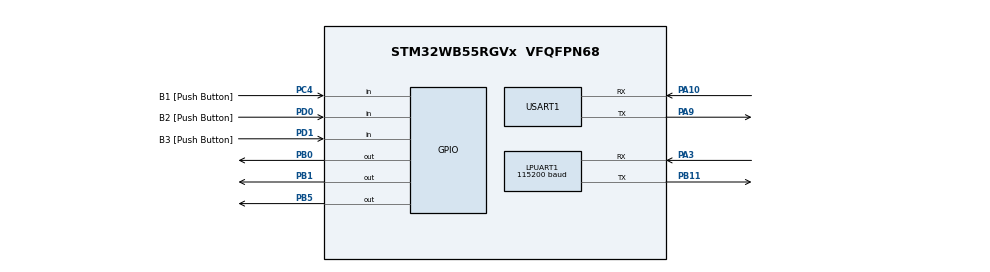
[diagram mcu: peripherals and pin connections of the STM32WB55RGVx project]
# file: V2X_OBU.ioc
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FREERTOS.Tasks01=SenderTask,24,128,StartSenderTask,Default,NULL,Dynamic,NULL,NULL;TskUART,40,128,StartTskUART,Default,NULL,Dynamic,NULL,NULL;SenderTask2,24,128,StartSenderTask2,Default,NULL,Dynamic,NULL,NULL;TskUART2,40,128,StartTskUART2,Default,NULL,Dynamic,NULL,NULL
FREERTOS.configUSE_NEWLIB_REENTRANT=1
LPUART1.BaudRate=115200
Mcu.Family=STM32WB
Mcu.Name=STM32WB55RGVx
Mcu.Package=VFQFPN68
NUCLEO-WB55RG.LD1=true
NUCLEO-WB55RG.LD2=true
NUCLEO-WB55RG.LD3=true
NVIC.LPUART1_IRQn=true\:5\:0\:false\:false\:true\:true\:true\:true\:true
NVIC.PriorityGroup=NVIC_PRIORITYGROUP_4
NVIC.TIM2_IRQn=true\:15\:0\:false\:false\:true\:false\:false\:true\:true
NVIC.TimeBase=TIM2_IRQn
NVIC.TimeBaseIP=TIM2
NVIC.USART1_IRQn=true\:5\:0\:false\:false\:true\:true\:true\:true\:true
OSC_IN.GPIO_Label=RCC_OSC_IN
OSC_IN.Signal=RCC_OSC_IN
OSC_OUT.GPIO_Label=RCC_OSC_OUT
OSC_OUT.Signal=RCC_OSC_OUT
PA10.Mode=Asynchronous
PA10.Signal=USART1_RX
PA11.GPIO_Label=USB_DM
PA11.Signal=USB_DM
PA12.GPIO_Label=USB_DP
PA12.Signal=USB_DP
PA13.GPIO_Label=JTMS
PA13.Signal=SYS_JTMS-SWDIO
PA14.GPIO_Label=JTCK
PA14.Signal=SYS_JTCK-SWCLK
PA3.Mode=Asynchronous
PA3.Signal=LPUART1_RX
PA9.Mode=Asynchronous
PA9.Signal=USART1_TX
PB0.Signal=GPIO_Output
PB1.Signal=GPIO_Output
PB11.Mode=Asynchronous
PB11.Signal=LPUART1_TX
PB3.GPIO_Label=JTDO
PB3.Signal=SYS_JTDO-SWO
PB5.Signal=GPIO_Output
PC13.GPIO_Label=SYS_WKUP2
PC13.Signal=SYS_WKUP2
PC14-OSC32_IN.GPIO_Label=RCC_OSC32_IN
PC14-OSC32_IN.Signal=RCC_OSC32_IN
PC15-OSC32_OUT.GPIO_Label=RCC_OSC32_OUT
PC15-OSC32_OUT.Signal=RCC_OSC32_OUT
PC4.GPIO_Label=B1 [Push Button]
PC4.Signal=GPIO_Input
PD0.GPIO_Label=B2 [Push Button]
PD0.Signal=GPIO_Input
PD1.GPIO_Label=B3 [Push Button]
PD1.Signal=GPIO_Input
ProjectManager.HeapSize=0x200
ProjectManager.StackSize=0x400
ProjectManager.TargetToolchain=STM32CubeIDE
RCC.ADCFreq_Value=16000000
RCC.AHB2CLKDivider=RCC_SYSCLK_DIV2
RCC.AHBFreq_Value=64000000
RCC.APB1Freq_Value=64000000
RCC.APB1TimFreq_Value=64000000
RCC.APB2Freq_Value=64000000
RCC.APB2TimFreq_Value=64000000
RCC.APB3Freq_Value=16000000
RCC.Cortex2_Div=SYSTICK_CLKSOURCE_HCLK_DIV8
RCC.CortexFreq_Value=64000000
RCC.HCLKFreq_Value=64000000
RCC.HSE_VALUE=32000000
RCC.HSI48_VALUE=48000000
RCC.HSI_VALUE=16000000
RCC.LSE_VALUE=32768
RCC.PLLN=32
RCC.SMPSCLockSelection=RCC_SMPSCLKSOURCE_HSI
RCC.SMPSCLockSelectionVirtual=RCC_SMPSCLKSOURCE_HSI
RCC.SMPSCLockSelectionVirtualVirtual=RCC_SMPSCLKSOURCE_HSI
RCC.SMPSDivider=1
RCC.SYSCLKFreq_VALUE=64000000
RCC.SYSCLKSource=RCC_SYSCLKSOURCE_PLLCLK
RCC.USBFreq_Value=16000000
RCC.VCOOutputFreq_Value=128000000
USART1.VirtualMode-Asynchronous=VM_ASYNC
VP_FREERTOS_VS_CMSIS_V2.Mode=CMSIS_V2
VP_MEMORYMAP_VS_MEMORYMAP.Mode=CurAppReg
VP_NUCLEO-WB55RG_VS_BSP_COMMON.Mode=COMMON
VP_SYS_VS_tim2.Mode=TIM2
board=NUCLEO-WB55RG

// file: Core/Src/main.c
/* USER CODE BEGIN Header */
/**
  ******************************************************************************
  * @file           : main.c
  * @brief          : Main program body - Optimized with Interrupts & 64MHz
  ******************************************************************************
  * @attention
  *
  * Copyright (c) 2025 STMicroelectronics.
  * All rights reserved.
  *
  * This software is licensed under terms that can be found in the LICENSE file
  * in the root directory of this software component.
  * If no LICENSE file comes with this software, it is provided AS-IS.
  *
  ******************************************************************************
  */
//////////////////////////////////////////////////the stm32 receives data from esp-now via lpuart1, and CAN data via usart1/////////////////////////////
/* USER CODE END Header */
#include "main.h"
#include "cmsis_os.h"
/* USER CODE BEGIN Includes */
#include <stdio.h>
#include <string.h>
#include "queue.h"
#include <stdbool.h>
/* USER CODE END Includes */
/* USER CODE BEGIN PTD */
typedef struct {
    unsigned short SOC;
    float speedKmh;
    float odometerKm;
    float displaySpeed;
    uint8_t MacAddress[6];  // Sender's MAC
} Item;  // Ensure consistent packing
volatile Item receivedData;
//struct for collecting CAN Received CAN Frames:
typedef struct {
    uint32_t can_id;
    uint8_t dlc;
    uint8_t data[8];
} CANFrame;
volatile CANFrame CANreceivedData;
/* USER CODE END PTD */
/* USER CODE BEGIN PD */
#define UART_TX_INTERVAL 500         // 0.5 seconds transmission interval
#define QUEUE_SIZE 20                // Increased queue size for interrupts
#define DEBUG_PRINT_INTERVAL 100     // Print every 100th message for performance
/* USER CODE END PD */
UART_HandleTypeDef hlpuart1;
UART_HandleTypeDef huart1;
/* Definitions for SenderTask */
osThreadId_t SenderTaskHandle;
const osThreadAttr_t SenderTask_attributes = {
  .name = "SenderTask",
  .priority = (osPriority_t) osPriorityNormal,
  .stack_size = 256 * 4  // Increased stack size
};
/* Definitions for TskUART */
osThreadId_t TskUARTHandle;
const osThreadAttr_t TskUART_attributes = {
  .name = "TskUART",
  .priority = (osPriority_t) osPriorityLow,  // Lower priority since interrupts handle reception
  .stack_size = 256 * 4
};
/* Definitions for SenderTask2 */
osThreadId_t SenderTask2Handle;
const osThreadAttr_t SenderTask2_attributes = {
  .name = "SenderTask2",
  .priority = (osPriority_t) osPriorityNormal,
  .stack_size = 256 * 4
};
/* Definitions for TskUART2 */
osThreadId_t TskUART2Handle;
const osThreadAttr_t TskUART2_attributes = {
  .name = "TskUART2",
  .priority = (osPriority_t) osPriorityLow,  // Lower priority since interrupts handle reception
  .stack_size = 256 * 4
};
/* USER CODE BEGIN PV */
static uint32_t last_tx_time = 0;
static uint32_t debug_counter = 0;
// Define the queue:
static QueueHandle_t UARTQueue;
static QueueHandle_t UARTQueue2;
// Pre-allocated buffers for better performance
static const uint8_t stm32_mac[6] = {0xAA, 0xBB, 0xCC, 0xDD, 0xEE, 0xFF};
// Global variable to store parsed CAN data
static Item parsedCANData;
// Interrupt status flags
static volatile uint32_t uart_error_count = 0;
static volatile uint32_t can_error_count = 0;
/* USER CODE END PV */
void SystemClock_Config(void);
void PeriphCommonClock_Config(void);
static void MX_GPIO_Init(void);
static void MX_USART1_UART_Init(void);
static void MX_LPUART1_UART_Init(void);
void StartSenderTask(void *argument);
void StartTskUART(void *argument);
void StartSenderTask2(void *argument);
void StartTskUART2(void *argument);
/* USER CODE BEGIN PFP */
static inline uint8_t ValidateReceivedData(const Item *data);
static inline uint8_t ValidateReceivedCANData(const CANFrame *data);
static void PrintMAC(const uint8_t *mac);
static void PrintCANData(const CANFrame *ReceivedCANFrame);
static void parseTwizyFrame(CANFrame* ReceivedCANFrame);
static void StartUARTInterrupts(void);
/* USER CODE END PFP */
/* USER CODE BEGIN 0 */
//THIS IS TO VALIDATE RECEIVED DATA from ESP-NOW
static inline uint8_t ValidateReceivedData(const Item *data) {
    // Check if at least one byte of MAC address is non-zero
    for (int i = 0; i < 6; i++) {
        if (data->MacAddress[i] != 0) {
            return 1;
        }
    }
    return 0;
}
//THIS IS TO VALIDATE RECEIVED DATA from CAN
static inline uint8_t ValidateReceivedCANData(const CANFrame *data) {
    return (data->can_id != 0 && data->dlc <= 8);
}
// Helper function to print MAC address
static void PrintMAC(const uint8_t *mac) {
    printf("%02X:%02X:%02X:%02X:%02X:%02X",
           mac[0], mac[1], mac[2], mac[3], mac[4], mac[5]);
}
// Helper function to print CAN data
static void PrintCANData(const CANFrame *ReceivedCANFrame) {
    if (debug_counter % DEBUG_PRINT_INTERVAL == 0) {
        printf("CAN ID:0x%lX DLC:%u DATA:", ReceivedCANFrame->can_id, ReceivedCANFrame->dlc);
        for (int i = 0; i < ReceivedCANFrame->dlc; i++) {
            printf("%02X ", ReceivedCANFrame->data[i]);
        }
        printf("\n");
    }
}
//Function to parse the CAN data and update parsedCANData:
static void parseTwizyFrame(CANFrame* ReceivedCANFrame) {
    switch (ReceivedCANFrame->can_id) {
        case 0x155:  // Battery SoC and Current
            if (ReceivedCANFrame->dlc >= 8) {
                uint16_t raw_soc = (ReceivedCANFrame->data[4] << 8) | ReceivedCANFrame->data[5];
                float soc = raw_soc / 400.0f;
                parsedCANData.SOC = (unsigned short)(soc * 100);  // Convert to percentage * 100
                if (debug_counter % (DEBUG_PRINT_INTERVAL * 2) == 0) {
                    printf("SoC: %.1f%%\n", soc);
                }
            }
            break;
        case 0x5D7:  // Display Speed and Odometer
            if (ReceivedCANFrame->dlc >= 6) {
                uint16_t displaySpeedRaw = (ReceivedCANFrame->data[0] << 8) | ReceivedCANFrame->data[1];
                parsedCANData.displaySpeed = displaySpeedRaw / 100.0f;
                uint32_t odometerRaw = (ReceivedCANFrame->data[2] << 24) | (ReceivedCANFrame->data[3] << 16) |
                                       (ReceivedCANFrame->data[4] << 8) | ReceivedCANFrame->data[5];
                parsedCANData.odometerKm = odometerRaw / 1600.0f;
                if (debug_counter % (DEBUG_PRINT_INTERVAL * 2) == 0) {
                    printf("Display: %.1f km/h | Odometer: %.1f km\n", parsedCANData.displaySpeed, parsedCANData.odometerKm);
                }
            }
            break;
        case 0x19F:  // Motor Speed and RPM
            if (ReceivedCANFrame->dlc >= 4) {
                uint8_t byte2 = ReceivedCANFrame->data[2];
                uint8_t byte3 = ReceivedCANFrame->data[3];
                uint16_t speedRaw = (byte2 << 4) | (byte3 & 0x0F);
                int16_t speedDeviation = speedRaw - 0x7D0;
                float speedRPM = speedDeviation * 10.0f;
                parsedCANData.speedKmh = (speedRPM / 7250.0f) * 80.0f;
                if (debug_counter % (DEBUG_PRINT_INTERVAL * 2) == 0) {
                    printf("Motor: %.1f km/h | RPM: %.0f\n", parsedCANData.speedKmh, speedRPM);
                }
            }
            break;
        case 0x436:  // System Uptime
            if (ReceivedCANFrame->dlc >= 4) {
                uint32_t minuteCounter = (ReceivedCANFrame->data[0] << 24) | (ReceivedCANFrame->data[1] << 16) |
                                         (ReceivedCANFrame->data[2] << 8) | ReceivedCANFrame->data[3];
                uint32_t hours = minuteCounter / 60;
                uint32_t days = hours / 24;
                uint32_t remainingHours = hours % 24;
                if (debug_counter % (DEBUG_PRINT_INTERVAL * 5) == 0) {
                    printf("Uptime: %u min | %u h | %u d\n", minuteCounter, remainingHours, days);
                }
            }
            break;
        case 0x423:  // Charger Status
            if (ReceivedCANFrame->dlc >= 8) {
                uint8_t chargerStatus = ReceivedCANFrame->data[0];
                uint16_t counter = (ReceivedCANFrame->data[6] << 8) | ReceivedCANFrame->data[7];
                if (debug_counter % (DEBUG_PRINT_INTERVAL * 3) == 0) {
                    printf("Charger: %s | Counter: %u\n", chargerStatus == 0x03 ? "ON" : "OFF", counter);
                }
            }
            break;
        case 0x424:  // Power and Battery Health
            if (ReceivedCANFrame->dlc >= 6) {
                int maxRegenPower = ReceivedCANFrame->data[2] * 500;
                int maxDrivePower = ReceivedCANFrame->data[3] * 500;
                int batterySOH = ReceivedCANFrame->data[5];
                if (debug_counter % (DEBUG_PRINT_INTERVAL * 3) == 0) {
                    printf("Max Drive: %d W | Regen: %d W | SOH: %d%%\n", maxDrivePower, maxRegenPower, batterySOH);
                }
            }
            break;
        case 0x425:  // Battery Voltage and Energy
            if (ReceivedCANFrame->dlc >= 6) {
                uint16_t voltageRaw = (ReceivedCANFrame->data[4] << 8) | ReceivedCANFrame->data[5];
                float batteryVoltage = (voltageRaw >> 1) / 10.0f;
                float availableEnergy = ReceivedCANFrame->data[1] / 10.0f;
                if (debug_counter % (DEBUG_PRINT_INTERVAL * 3) == 0) {
                    printf("Battery: %.1f V | Energy: %.1f kWh\n", batteryVoltage, availableEnergy);
                }
            }
            break;
        case 0x597:  // 12V System
            if (ReceivedCANFrame->dlc >= 8) {
                float dcCurrent = ReceivedCANFrame->data[2] / 5.0f;
                int chargerTemp = ReceivedCANFrame->data[7] - 40;
                uint8_t protocol = ReceivedCANFrame->data[3];
                const char* proto_str = "UNK";
                switch (protocol) {
                    case 0x41: proto_str = "ON"; break;
                    case 0xD1: proto_str = "OFF"; break;
                    case 0xB1: proto_str = "CHG"; break;
                    case 0x91: proto_str = "STB"; break;
                }
                if (debug_counter % (DEBUG_PRINT_INTERVAL * 4) == 0) {
                    printf("12V: %.1f A | Temp: %d°C | Protocol: %s\n", dcCurrent, chargerTemp, proto_str);
                }
            }
            break;
        default:
            // Unknown frame - could log if needed
            break;
    }
}

// Start interrupt-based UART reception
static void StartUARTInterrupts(void) {
    // Enable NVIC interrupts for UART
    HAL_NVIC_SetPriority(LPUART1_IRQn, 5, 0);
    HAL_NVIC_EnableIRQ(LPUART1_IRQn);

    HAL_NVIC_SetPriority(USART1_IRQn, 5, 0);
    HAL_NVIC_EnableIRQ(USART1_IRQn);

    // Start interrupt-based reception
    HAL_UART_Receive_IT(&hlpuart1, (uint8_t*)&receivedData, sizeof(Item));
    HAL_UART_Receive_IT(&huart1, (uint8_t*)&CANreceivedData, sizeof(CANFrame));

    printf("UART Interrupts enabled - 64MHz System Ready\n");
}
/* USER CODE END 0 */
int main(void)
{
  /* MCU Configuration--------------------------------------------------------*/
  /* Reset of all peripherals, Initializes the Flash interface and the Systick. */
  HAL_Init();
  /* Configure the system clock */
  SystemClock_Config();
  /* Configure the peripherals common clocks */
  PeriphCommonClock_Config();
  /* Initialize all configured peripherals */
  MX_GPIO_Init();
  MX_USART1_UART_Init();
  MX_LPUART1_UART_Init();
  /* USER CODE BEGIN 2 */
  // Initialize parsed CAN data
  memset(&parsedCANData, 0, sizeof(Item));
  memcpy(parsedCANData.MacAddress, stm32_mac, 6);

  // Start interrupt-based UART reception
  StartUARTInterrupts();

  printf("STM32 64MHz + Interrupt UART System Started\n");
  printf("System Clock: %lu Hz\n", HAL_RCC_GetSysClockFreq());
  /* USER CODE END 2 */
  /* Init scheduler */
  osKernelInitialize();
  /* USER CODE BEGIN RTOS_QUEUES */
  UARTQueue = xQueueCreate(QUEUE_SIZE, sizeof(Item));
  if (UARTQueue == NULL) {
      Error_Handler(); // Handle queue creation failure
  }
  UARTQueue2 = xQueueCreate(QUEUE_SIZE, sizeof(CANFrame));
  if (UARTQueue2 == NULL) {
      Error_Handler(); // Handle queue creation failure
  }
  /* USER CODE END RTOS_QUEUES */
  /* Create the thread(s) */
  /* creation of SenderTask */
  SenderTaskHandle = osThreadNew(StartSenderTask, NULL, &SenderTask_attributes);
  /* creation of TskUART */
  TskUARTHandle = osThreadNew(StartTskUART, NULL, &TskUART_attributes);
  /* creation of SenderTask2 */
  SenderTask2Handle = osThreadNew(StartSenderTask2, NULL, &SenderTask2_attributes);
  /* creation of TskUART2 */
  TskUART2Handle = osThreadNew(StartTskUART2, NULL, &TskUART2_attributes);
  /* Initialize leds */
  BSP_LED_Init(LED_BLUE);
  BSP_LED_Init(LED_GREEN);
  BSP_LED_Init(LED_RED);
  /* Start scheduler */
  osKernelStart();
  /* We should never get here as control is now taken by the scheduler */
  /* Infinite loop */
  while (1)
  {
  }
}
void SystemClock_Config(void)
{
  RCC_OscInitTypeDef RCC_OscInitStruct = {0};
  RCC_ClkInitTypeDef RCC_ClkInitStruct = {0};

  /** Configure the main internal regulator output voltage */
  __HAL_PWR_VOLTAGESCALING_CONFIG(PWR_REGULATOR_VOLTAGE_SCALE1);

  /** Initializes the RCC Oscillators according to the specified parameters */
  RCC_OscInitStruct.OscillatorType = RCC_OSCILLATORTYPE_HSE|RCC_OSCILLATORTYPE_MSI;
  RCC_OscInitStruct.HSEState = RCC_HSE_ON;
  RCC_OscInitStruct.MSIState = RCC_MSI_ON;
  RCC_OscInitStruct.HSICalibrationValue = RCC_HSICALIBRATION_DEFAULT;
  RCC_OscInitStruct.MSICalibrationValue = RCC_MSICALIBRATION_DEFAULT;
  RCC_OscInitStruct.MSIClockRange = RCC_MSIRANGE_6;  // 4MHz MSI

  /** Configure PLL for 64MHz */
  RCC_OscInitStruct.PLL.PLLState = RCC_PLL_ON;
  RCC_OscInitStruct.PLL.PLLSource = RCC_PLLSOURCE_MSI;
  RCC_OscInitStruct.PLL.PLLM = 1;    // Divider: 4MHz / 1 = 4MHz
  RCC_OscInitStruct.PLL.PLLN = 32;   // Multiplier: 4MHz * 32 = 128MHz
  RCC_OscInitStruct.PLL.PLLP = RCC_PLLP_DIV7;
  RCC_OscInitStruct.PLL.PLLQ = RCC_PLLQ_DIV2;
  RCC_OscInitStruct.PLL.PLLR = RCC_PLLR_DIV2;  // Output: 128MHz / 2 = 64MHz

  if (HAL_RCC_OscConfig(&RCC_OscInitStruct) != HAL_OK) {
    Error_Handler();
  }

  /** Initializes the CPU, AHB and APB buses clocks */
  RCC_ClkInitStruct.ClockType = RCC_CLOCKTYPE_HCLK4|RCC_CLOCKTYPE_HCLK2
                              |RCC_CLOCKTYPE_HCLK|RCC_CLOCKTYPE_SYSCLK
                              |RCC_CLOCKTYPE_PCLK1|RCC_CLOCKTYPE_PCLK2;
  RCC_ClkInitStruct.SYSCLKSource = RCC_SYSCLKSOURCE_PLLCLK;  // Use PLL for 64MHz
  RCC_ClkInitStruct.AHBCLKDivider = RCC_SYSCLK_DIV1;        // 64MHz
  RCC_ClkInitStruct.APB1CLKDivider = RCC_HCLK_DIV1;         // 64MHz
  RCC_ClkInitStruct.APB2CLKDivider = RCC_HCLK_DIV1;         // 64MHz
  RCC_ClkInitStruct.AHBCLK2Divider = RCC_SYSCLK_DIV2;       // 32MHz for RF
  RCC_ClkInitStruct.AHBCLK4Divider = RCC_SYSCLK_DIV1;       // 64MHz

  if (HAL_RCC_ClockConfig(&RCC_ClkInitStruct, FLASH_LATENCY_3) != HAL_OK) {
    Error_Handler();
  }
}
void PeriphCommonClock_Config(void)
{
  RCC_PeriphCLKInitTypeDef PeriphClkInitStruct = {0};
  /** Initializes the peripherals clock
  */
  PeriphClkInitStruct.PeriphClockSelection = RCC_PERIPHCLK_SMPS;
  PeriphClkInitStruct.SmpsClockSelection = RCC_SMPSCLKSOURCE_HSI;
  PeriphClkInitStruct.SmpsDivSelection = RCC_SMPSCLKDIV_RANGE0;
  if (HAL_RCCEx_PeriphCLKConfig(&PeriphClkInitStruct) != HAL_OK)
  {
    Error_Handler();
  }
}
static void MX_LPUART1_UART_Init(void)
{
  hlpuart1.Instance = LPUART1;
  hlpuart1.Init.BaudRate = 115200;
  hlpuart1.Init.WordLength = UART_WORDLENGTH_8B;
  hlpuart1.Init.StopBits = UART_STOPBITS_1;
  hlpuart1.Init.Parity = UART_PARITY_NONE;
  hlpuart1.Init.Mode = UART_MODE_TX_RX;
  hlpuart1.Init.HwFlowCtl = UART_HWCONTROL_NONE;
  hlpuart1.Init.OneBitSampling = UART_ONE_BIT_SAMPLE_DISABLE;
  hlpuart1.Init.ClockPrescaler = UART_PRESCALER_DIV1;
  hlpuart1.AdvancedInit.AdvFeatureInit = UART_ADVFEATURE_NO_INIT;
  hlpuart1.FifoMode = UART_FIFOMODE_DISABLE;
  if (HAL_UART_Init(&hlpuart1) != HAL_OK)
  {
    Error_Handler();
  }
  if (HAL_UARTEx_SetTxFifoThreshold(&hlpuart1, UART_TXFIFO_THRESHOLD_1_8) != HAL_OK)
  {
    Error_Handler();
  }
  if (HAL_UARTEx_SetRxFifoThreshold(&hlpuart1, UART_RXFIFO_THRESHOLD_1_8) != HAL_OK)
  {
    Error_Handler();
  }
  if (HAL_UARTEx_DisableFifoMode(&hlpuart1) != HAL_OK)
  {
    Error_Handler();
  }
}
static void MX_USART1_UART_Init(void)
{
  huart1.Instance = USART1;
  huart1.Init.BaudRate = 115200;
  huart1.Init.WordLength = UART_WORDLENGTH_8B;
  huart1.Init.StopBits = UART_STOPBITS_1;
  huart1.Init.Parity = UART_PARITY_NONE;
  huart1.Init.Mode = UART_MODE_TX_RX;
  huart1.Init.HwFlowCtl = UART_HWCONTROL_NONE;
  huart1.Init.OverSampling = UART_OVERSAMPLING_16;
  huart1.Init.OneBitSampling = UART_ONE_BIT_SAMPLE_DISABLE;
  huart1.Init.ClockPrescaler = UART_PRESCALER_DIV1;
  huart1.AdvancedInit.AdvFeatureInit = UART_ADVFEATURE_NO_INIT;
  if (HAL_UART_Init(&huart1) != HAL_OK)
  {
    Error_Handler();
  }
  if (HAL_UARTEx_SetTxFifoThreshold(&huart1, UART_TXFIFO_THRESHOLD_1_8) != HAL_OK)
  {
    Error_Handler();
  }
  if (HAL_UARTEx_SetRxFifoThreshold(&huart1, UART_RXFIFO_THRESHOLD_1_8) != HAL_OK)
  {
    Error_Handler();
  }
  if (HAL_UARTEx_DisableFifoMode(&huart1) != HAL_OK)
  {
    Error_Handler();
  }
}
static void MX_GPIO_Init(void)
{
  GPIO_InitTypeDef GPIO_InitStruct = {0};
  /* GPIO Ports Clock Enable */
  __HAL_RCC_GPIOC_CLK_ENABLE();
  __HAL_RCC_GPIOA_CLK_ENABLE();
  __HAL_RCC_GPIOB_CLK_ENABLE();
  __HAL_RCC_GPIOD_CLK_ENABLE();
  /*Configure GPIO pin : B1_Pin */
  GPIO_InitStruct.Pin = B1_Pin;
  GPIO_InitStruct.Mode = GPIO_MODE_INPUT;
  GPIO_InitStruct.Pull = GPIO_NOPULL;
  HAL_GPIO_Init(B1_GPIO_Port, &GPIO_InitStruct);
  /*Configure GPIO pins : USB_DM_Pin USB_DP_Pin */
  GPIO_InitStruct.Pin = USB_DM_Pin|USB_DP_Pin;
  GPIO_InitStruct.Mode = GPIO_MODE_AF_PP;
  GPIO_InitStruct.Pull = GPIO_NOPULL;
  GPIO_InitStruct.Speed = GPIO_SPEED_FREQ_LOW;
  GPIO_InitStruct.Alternate = GPIO_AF10_USB;
  HAL_GPIO_Init(GPIOA, &GPIO_InitStruct);
  /*Configure GPIO pins : B2_Pin B3_Pin */
  GPIO_InitStruct.Pin = B2_Pin|B3_Pin;
  GPIO_InitStruct.Mode = GPIO_MODE_INPUT;
  GPIO_InitStruct.Pull = GPIO_NOPULL;
  HAL_GPIO_Init(GPIOD, &GPIO_InitStruct);
}
/* USER CODE BEGIN 4 */
int _write(int file, char *ptr, int len)
{
  (void)file;
  int DataIdx;
  for (DataIdx = 0; DataIdx < len; DataIdx++)
  {
    ITM_SendChar(*ptr++);
  }
  return len;
}

// UART Reception Complete Callback - CRITICAL FOR INTERRUPT OPERATION
void HAL_UART_RxCpltCallback(UART_HandleTypeDef *huart)
{
    BaseType_t xHigherPriorityTaskWoken = pdFALSE;

    if (huart->Instance == LPUART1) {
        // ESP-NOW data received via LPUART1
        if (ValidateReceivedData((Item*)&receivedData)) {
            if (xQueueSendFromISR(UARTQueue, (void*)&receivedData, &xHigherPriorityTaskWoken) != pdTRUE) {
                // Queue full - increment error counter
                uart_error_count++;
            }
        }
        // Restart reception for next packet
        HAL_UART_Receive_IT(&hlpuart1, (uint8_t*)&receivedData, sizeof(Item));
    }
    else if (huart->Instance == USART1) {
        // CAN data received via USART1
        if (ValidateReceivedCANData((CANFrame*)&CANreceivedData)) {
            if (xQueueSendFromISR(UARTQueue2, (void*)&CANreceivedData, &xHigherPriorityTaskWoken) != pdTRUE) {
                // Queue full - increment error counter
                can_error_count++;
            }
        }
        // Restart reception for next packet
        HAL_UART_Receive_IT(&huart1, (uint8_t*)&CANreceivedData, sizeof(CANFrame));
    }

    // Trigger context switch if higher priority task was woken
    portYIELD_FROM_ISR(xHigherPriorityTaskWoken);
}

// UART Error Callback - CRITICAL FOR ROBUST OPERATION
void HAL_UART_ErrorCallback(UART_HandleTypeDef *huart)
{
    if (huart->Instance == LPUART1) {
        // Clear error flags and restart reception
        __HAL_UART_CLEAR_OREFLAG(&hlpuart1);
        __HAL_UART_CLEAR_NEFLAG(&hlpuart1);
        __HAL_UART_CLEAR_FEFLAG(&hlpuart1);
        __HAL_UART_CLEAR_PEFLAG(&hlpuart1);
        uart_error_count++;
        HAL_UART_Receive_IT(&hlpuart1, (uint8_t*)&receivedData, sizeof(Item));
    }
    else if (huart->Instance == USART1) {
        // Clear error flags and restart reception
        __HAL_UART_CLEAR_OREFLAG(&huart1);
        __HAL_UART_CLEAR_NEFLAG(&huart1);
        __HAL_UART_CLEAR_FEFLAG(&huart1);
        __HAL_UART_CLEAR_PEFLAG(&huart1);
        can_error_count++;
        HAL_UART_Receive_IT(&huart1, (uint8_t*)&CANreceivedData, sizeof(CANFrame));
    }
}
/* USER CODE END 4 */

void StartSenderTask(void *argument)
{
  /* USER CODE BEGIN 5 */
  Item itemToSend;
  Item receivedItem;
  uint32_t current_time;

  for(;;)
  {
    debug_counter++;

    // Check if we have received data to process from ESP-NOW
    if (xQueueReceive(UARTQueue, &receivedItem, 0) == pdTRUE) {
      BSP_LED_Toggle(LED_GREEN);

      // Reduce printf frequency for better performance
      if (debug_counter % DEBUG_PRINT_INTERVAL == 0) {
          printf("RX ESP32 - SOC: %u, Speed: %.1f, MAC: ", receivedItem.SOC, receivedItem.speedKmh);
          PrintMAC(receivedItem.MacAddress);
          printf("\n");
      }
    }
    // Send parsed CAN data to ESP32 periodically via LPUART1
    current_time = HAL_GetTick();
    if (current_time - last_tx_time >= UART_TX_INTERVAL) {
      itemToSend = parsedCANData;  // Copy the parsed data

      if (HAL_UART_Transmit(&hlpuart1, (uint8_t*)&itemToSend, sizeof(Item), 100) == HAL_OK) {
        if (debug_counter % DEBUG_PRINT_INTERVAL == 0) {
            printf("TX ESP32 - SOC: %u, Speed: %.1f km/h, Display: %.1f km/h, Odometer: %.1f km\n",
                   itemToSend.SOC, itemToSend.speedKmh, itemToSend.displaySpeed, itemToSend.odometerKm);
        }
        BSP_LED_Toggle(LED_RED);
      } else {
        if (debug_counter % (DEBUG_PRINT_INTERVAL * 5) == 0) {
            printf("Failed to send CAN data to ESP32\n");
        }
      }
      last_tx_time = current_time;
    }

    osDelay(20); // Reduced delay for better performance
  }
  /* USER CODE END 5 */
}
void StartTskUART(void *argument)
{
  /* USER CODE BEGIN StartTskUART */
  /* This task is now much simpler since interrupts handle reception */
  for(;;)
  {
    // Just handle monitoring and status reporting
    // Most work is now done in interrupt callbacks

    // Print status occasionally
    if (debug_counter % (DEBUG_PRINT_INTERVAL * 50) == 0) {
        printf("LPUART1 Status: OK | Errors: %lu\n", uart_error_count);
    }

    osDelay(500); // Much longer delay since interrupts handle reception
  }
  /* USER CODE END StartTskUART */
}
void StartSenderTask2(void *argument)
{
  /* USER CODE BEGIN StartSenderTask2 */
  CANFrame receivedCANFrame;

  for(;;)
  {
    // Check if we have received CAN data to process
    if (xQueueReceive(UARTQueue2, &receivedCANFrame, 0) == pdTRUE) {
      // Parse the CAN frame and update parsedCANData
      parseTwizyFrame(&receivedCANFrame);

      // Print CAN data with reduced frequency
      PrintCANData(&receivedCANFrame);
    }
    osDelay(20); // Reduced delay for better responsiveness
  }
  /* USER CODE END StartSenderTask2 */
}
void StartTskUART2(void *argument)
{
  /* USER CODE BEGIN StartTskUART2 */
  /* This task is now much simpler since interrupts handle reception */
  for(;;)
  {
    // Just handle monitoring and status reporting
    // Most work is now done in interrupt callbacks

    // Print status occasionally
    if (debug_counter % (DEBUG_PRINT_INTERVAL * 50) == 0) {
        printf("USART1 Status: OK | Errors: %lu\n", can_error_count);
    }

    osDelay(500); // Much longer delay since interrupts handle reception
  }
  /* USER CODE END StartTskUART2 */
}
void HAL_TIM_PeriodElapsedCallback(TIM_HandleTypeDef *htim)
{
  if (htim->Instance == TIM2)
  {
    HAL_IncTick();
  }
}
void Error_Handler(void)
{
  __disable_irq();
  while (1)
  {
  }
}
